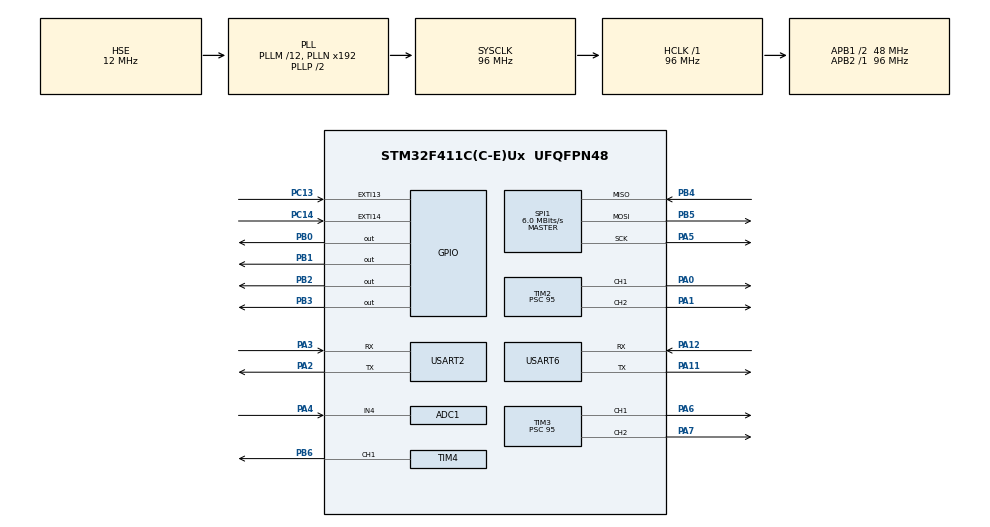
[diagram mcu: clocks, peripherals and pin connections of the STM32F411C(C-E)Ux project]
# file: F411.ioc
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ADC1.Channel-0\#ChannelRegularConversion=ADC_CHANNEL_4
ADC1.NbrOfConversionFlag=1
ADC1.Rank-0\#ChannelRegularConversion=1
ADC1.SamplingTime-0\#ChannelRegularConversion=ADC_SAMPLETIME_84CYCLES
ADC1.master=1
Dma.Request0=USART6_RX
Dma.Request1=USART6_TX
Dma.Request2=USART2_RX
Dma.Request3=USART2_TX
Dma.USART2_RX.2.Direction=DMA_PERIPH_TO_MEMORY
Dma.USART2_RX.2.FIFOMode=DMA_FIFOMODE_DISABLE
Dma.USART2_RX.2.Instance=DMA1_Stream5
Dma.USART2_RX.2.MemDataAlignment=DMA_MDATAALIGN_BYTE
Dma.USART2_RX.2.MemInc=DMA_MINC_ENABLE
Dma.USART2_RX.2.Mode=DMA_CIRCULAR
Dma.USART2_RX.2.PeriphDataAlignment=DMA_PDATAALIGN_BYTE
Dma.USART2_RX.2.PeriphInc=DMA_PINC_DISABLE
Dma.USART2_RX.2.Priority=DMA_PRIORITY_LOW
Dma.USART2_TX.3.Direction=DMA_MEMORY_TO_PERIPH
Dma.USART2_TX.3.FIFOMode=DMA_FIFOMODE_DISABLE
Dma.USART2_TX.3.Instance=DMA1_Stream6
Dma.USART2_TX.3.MemDataAlignment=DMA_MDATAALIGN_BYTE
Dma.USART2_TX.3.MemInc=DMA_MINC_ENABLE
Dma.USART2_TX.3.Mode=DMA_NORMAL
Dma.USART2_TX.3.PeriphDataAlignment=DMA_PDATAALIGN_BYTE
Dma.USART2_TX.3.PeriphInc=DMA_PINC_DISABLE
Dma.USART2_TX.3.Priority=DMA_PRIORITY_LOW
Dma.USART6_RX.0.Direction=DMA_PERIPH_TO_MEMORY
Dma.USART6_RX.0.FIFOMode=DMA_FIFOMODE_DISABLE
Dma.USART6_RX.0.Instance=DMA2_Stream1
Dma.USART6_RX.0.MemDataAlignment=DMA_MDATAALIGN_BYTE
Dma.USART6_RX.0.MemInc=DMA_MINC_ENABLE
Dma.USART6_RX.0.Mode=DMA_CIRCULAR
Dma.USART6_RX.0.PeriphDataAlignment=DMA_PDATAALIGN_BYTE
Dma.USART6_RX.0.PeriphInc=DMA_PINC_DISABLE
Dma.USART6_RX.0.Priority=DMA_PRIORITY_LOW
Dma.USART6_TX.1.Direction=DMA_MEMORY_TO_PERIPH
Dma.USART6_TX.1.FIFOMode=DMA_FIFOMODE_DISABLE
Dma.USART6_TX.1.Instance=DMA2_Stream6
Dma.USART6_TX.1.MemDataAlignment=DMA_MDATAALIGN_BYTE
Dma.USART6_TX.1.MemInc=DMA_MINC_ENABLE
Dma.USART6_TX.1.Mode=DMA_CIRCULAR
Dma.USART6_TX.1.PeriphDataAlignment=DMA_PDATAALIGN_BYTE
Dma.USART6_TX.1.PeriphInc=DMA_PINC_DISABLE
Dma.USART6_TX.1.Priority=DMA_PRIORITY_LOW
FREERTOS.Tasks01=defaultTask,24,128,StartDefaultTask,Default,NULL,Dynamic,NULL,NULL
Mcu.Family=STM32F4
Mcu.Name=STM32F411C(C-E)Ux
Mcu.Package=UFQFPN48
NVIC.DMA1_Stream5_IRQn=true\:5\:0\:false\:false\:true\:true\:false\:true\:true
NVIC.DMA1_Stream6_IRQn=true\:5\:0\:false\:false\:true\:true\:false\:true\:true
NVIC.DMA2_Stream1_IRQn=true\:5\:0\:false\:false\:true\:true\:false\:true\:true
NVIC.DMA2_Stream6_IRQn=true\:5\:0\:false\:false\:true\:true\:false\:true\:true
NVIC.EXTI15_10_IRQn=true\:5\:0\:false\:false\:true\:true\:true\:true\:true
NVIC.PriorityGroup=NVIC_PRIORITYGROUP_4
NVIC.TIM1_UP_TIM10_IRQn=true\:15\:0\:false\:false\:true\:false\:false\:true\:true
NVIC.TimeBase=TIM1_UP_TIM10_IRQn
NVIC.TimeBaseIP=TIM1
NVIC.USART2_IRQn=true\:5\:0\:false\:false\:true\:true\:false\:true\:true
NVIC.USART6_IRQn=true\:5\:0\:false\:false\:true\:true\:false\:true\:true
PA0-WKUP.Signal=S_TIM2_CH1_ETR
PA1.Signal=S_TIM2_CH2
PA11.Mode=Asynchronous
PA11.Signal=USART6_TX
PA12.Mode=Asynchronous
PA12.Signal=USART6_RX
PA13.Mode=Serial_Wire
PA13.Signal=SYS_JTMS-SWDIO
PA14.Mode=Serial_Wire
PA14.Signal=SYS_JTCK-SWCLK
PA2.Mode=Asynchronous
PA2.Signal=USART2_TX
PA3.Mode=Asynchronous
PA3.Signal=USART2_RX
PA4.Signal=ADCx_IN4
PA5.Mode=Full_Duplex_Master
PA5.Signal=SPI1_SCK
PA6.Signal=S_TIM3_CH1
PA7.Signal=S_TIM3_CH2
PB0.Signal=GPIO_Output
PB1.Signal=GPIO_Output
PB2.PinState=GPIO_PIN_SET
PB2.Signal=GPIO_Output
PB3.PinState=GPIO_PIN_SET
PB3.Signal=GPIO_Output
PB4.Mode=Full_Duplex_Master
PB4.Signal=SPI1_MISO
PB5.Mode=Full_Duplex_Master
PB5.Signal=SPI1_MOSI
PB6.Signal=S_TIM4_CH1
PC13-ANTI_TAMP.Signal=GPXTI13
PC14-OSC32_IN.Signal=GPXTI14
PH0\ -\ OSC_IN.Mode=HSE-External-Oscillator
PH0\ -\ OSC_IN.Signal=RCC_OSC_IN
PH1\ -\ OSC_OUT.Mode=HSE-External-Oscillator
PH1\ -\ OSC_OUT.Signal=RCC_OSC_OUT
ProjectManager.HeapSize=0x200
ProjectManager.StackSize=0x400
ProjectManager.TargetToolchain=MDK-ARM V5.32
RCC.48MHZClocksFreq_Value=48000000
RCC.AHBFreq_Value=96000000
RCC.APB1CLKDivider=RCC_HCLK_DIV2
RCC.APB1Freq_Value=48000000
RCC.APB1TimFreq_Value=96000000
RCC.APB2Freq_Value=96000000
RCC.APB2TimFreq_Value=96000000
RCC.CortexFreq_Value=96000000
RCC.HCLKFreq_Value=96000000
RCC.HSE_VALUE=12000000
RCC.HSI_VALUE=16000000
RCC.LSE_VALUE=32768
RCC.PLLM=12
RCC.PLLSourceVirtual=RCC_PLLSOURCE_HSE
RCC.SYSCLKFreq_VALUE=96000000
RCC.SYSCLKSource=RCC_SYSCLKSOURCE_PLLCLK
RCC.VCOOutputFreq_Value=192000000
SH.ADCx_IN4.0=ADC1_IN4,IN4
SH.S_TIM2_CH1_ETR.0=TIM2_CH1,PWM Generation1 CH1
SH.S_TIM2_CH2.0=TIM2_CH2,PWM Generation2 CH2
SH.S_TIM3_CH1.0=TIM3_CH1,PWM Generation1 CH1
SH.S_TIM3_CH2.0=TIM3_CH2,PWM Generation2 CH2
SH.S_TIM4_CH1.0=TIM4_CH1,PWM Generation1 CH1
SPI1.BaudRatePrescaler=SPI_BAUDRATEPRESCALER_16
SPI1.CalculateBaudRate=6.0 MBits/s
SPI1.Direction=SPI_DIRECTION_2LINES
SPI1.CLKPolarity=SPI_POLARITY_HIGH
SPI1.CLKPhase=SPI_PHASE_2EDGE
SPI1.Mode=SPI_MODE_MASTER
SPI1.VirtualType=VM_MASTER
TIM2.Channel-PWM\ Generation1\ CH1=TIM_CHANNEL_1
TIM2.Channel-PWM\ Generation2\ CH2=TIM_CHANNEL_2
TIM2.Period=19999
TIM2.Prescaler=95
TIM3.Channel-PWM\ Generation1\ CH1=TIM_CHANNEL_1
TIM3.Channel-PWM\ Generation2\ CH2=TIM_CHANNEL_2
TIM3.Period=19999
TIM3.Prescaler=95
TIM4.Channel-PWM\ Generation1\ CH1=TIM_CHANNEL_1
TIM4.Period=999
TIM4.Prescaler=23
USART2.VirtualMode=VM_ASYNC
USART6.VirtualMode=VM_ASYNC
VP_FREERTOS_VS_CMSIS_V2.Mode=CMSIS_V2
VP_SYS_VS_tim1.Mode=TIM1
board=custom

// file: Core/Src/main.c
/* USER CODE BEGIN Header */
/**
  ******************************************************************************
  * @file           : main.c
  * @brief          : Main program body
  ******************************************************************************
  * @attention
  *
  * Copyright (c) 2026 STMicroelectronics.
  * All rights reserved.
  *
  * This software is licensed under terms that can be found in the LICENSE file
  * in the root directory of this software component.
  * If no LICENSE file comes with this software, it is provided AS-IS.
  *
  ******************************************************************************
  */
/* USER CODE END Header */
#include "main.h"
#include "cmsis_os.h"

/* USER CODE BEGIN Includes */
#include "user_freertos.h"

/* USER CODE END Includes */

ADC_HandleTypeDef hadc1;

SPI_HandleTypeDef hspi1;

TIM_HandleTypeDef htim2;
TIM_HandleTypeDef htim3;
TIM_HandleTypeDef htim4;

UART_HandleTypeDef huart2;
UART_HandleTypeDef huart6;
DMA_HandleTypeDef hdma_usart2_rx;
DMA_HandleTypeDef hdma_usart2_tx;
DMA_HandleTypeDef hdma_usart6_rx;
DMA_HandleTypeDef hdma_usart6_tx;

/* Definitions for defaultTask */
osThreadId_t defaultTaskHandle;
const osThreadAttr_t defaultTask_attributes = {
  .name = "defaultTask",
  .stack_size = 128 * 4,
  .priority = (osPriority_t) osPriorityNormal,
};

void SystemClock_Config(void);
static void MX_GPIO_Init(void);
static void MX_DMA_Init(void);
static void MX_SPI1_Init(void);
static void MX_USART2_UART_Init(void);
static void MX_USART6_UART_Init(void);
static void MX_ADC1_Init(void);
static void MX_TIM2_Init(void);
static void MX_TIM3_Init(void);
static void MX_TIM4_Init(void);
void StartDefaultTask(void *argument);

int main(void)
{

  /* MCU Configuration--------------------------------------------------------*/

  /* Reset of all peripherals, Initializes the Flash interface and the Systick. */
  HAL_Init();

  /* Configure the system clock */
  SystemClock_Config();

  /* Initialize all configured peripherals */
  MX_GPIO_Init();
  MX_DMA_Init();
  MX_SPI1_Init();
  MX_USART2_UART_Init();
  MX_USART6_UART_Init();
  MX_ADC1_Init();
  MX_TIM2_Init();
  MX_TIM3_Init();
  MX_TIM4_Init();

  /* Init scheduler */
  osKernelInitialize();

  /* Create the thread(s) */
  /* creation of defaultTask */
  defaultTaskHandle = osThreadNew(StartDefaultTask, NULL, &defaultTask_attributes);

  /* USER CODE BEGIN RTOS_THREADS */
  MX_USER_FREERTOS_Init();
  /* add threads, ... */
  /* USER CODE END RTOS_THREADS */

  /* Start scheduler */
  osKernelStart();

  /* We should never get here as control is now taken by the scheduler */

  /* Infinite loop */
  while (1)
  {

  }
}

void SystemClock_Config(void)
{
  RCC_OscInitTypeDef RCC_OscInitStruct = {0};
  RCC_ClkInitTypeDef RCC_ClkInitStruct = {0};

  /** Configure the main internal regulator output voltage
  */
  __HAL_RCC_PWR_CLK_ENABLE();
  __HAL_PWR_VOLTAGESCALING_CONFIG(PWR_REGULATOR_VOLTAGE_SCALE1);

  /** Initializes the RCC Oscillators according to the specified parameters
  * in the RCC_OscInitTypeDef structure.
  */
  RCC_OscInitStruct.OscillatorType = RCC_OSCILLATORTYPE_HSE;
  RCC_OscInitStruct.HSEState = RCC_HSE_ON;
  RCC_OscInitStruct.PLL.PLLState = RCC_PLL_ON;
  RCC_OscInitStruct.PLL.PLLSource = RCC_PLLSOURCE_HSE;
  RCC_OscInitStruct.PLL.PLLM = 12;
  RCC_OscInitStruct.PLL.PLLN = 192;
  RCC_OscInitStruct.PLL.PLLP = RCC_PLLP_DIV2;
  RCC_OscInitStruct.PLL.PLLQ = 4;
  if (HAL_RCC_OscConfig(&RCC_OscInitStruct) != HAL_OK)
  {
    Error_Handler();
  }

  /** Initializes the CPU, AHB and APB buses clocks
  */
  RCC_ClkInitStruct.ClockType = RCC_CLOCKTYPE_HCLK|RCC_CLOCKTYPE_SYSCLK
                              |RCC_CLOCKTYPE_PCLK1|RCC_CLOCKTYPE_PCLK2;
  RCC_ClkInitStruct.SYSCLKSource = RCC_SYSCLKSOURCE_PLLCLK;
  RCC_ClkInitStruct.AHBCLKDivider = RCC_SYSCLK_DIV1;
  RCC_ClkInitStruct.APB1CLKDivider = RCC_HCLK_DIV2;
  RCC_ClkInitStruct.APB2CLKDivider = RCC_HCLK_DIV1;

  if (HAL_RCC_ClockConfig(&RCC_ClkInitStruct, FLASH_LATENCY_3) != HAL_OK)
  {
    Error_Handler();
  }
}

static void MX_ADC1_Init(void)
{

  ADC_ChannelConfTypeDef sConfig = {0};

  /** Configure the global features of the ADC (Clock, Resolution, Data Alignment and number of conversion)
  */
  hadc1.Instance = ADC1;
  hadc1.Init.ClockPrescaler = ADC_CLOCK_SYNC_PCLK_DIV4;
  hadc1.Init.Resolution = ADC_RESOLUTION_12B;
  hadc1.Init.ScanConvMode = DISABLE;
  hadc1.Init.ContinuousConvMode = DISABLE;
  hadc1.Init.DiscontinuousConvMode = DISABLE;
  hadc1.Init.ExternalTrigConvEdge = ADC_EXTERNALTRIGCONVEDGE_NONE;
  hadc1.Init.ExternalTrigConv = ADC_SOFTWARE_START;
  hadc1.Init.DataAlign = ADC_DATAALIGN_RIGHT;
  hadc1.Init.NbrOfConversion = 1;
  hadc1.Init.DMAContinuousRequests = DISABLE;
  hadc1.Init.EOCSelection = ADC_EOC_SINGLE_CONV;
  if (HAL_ADC_Init(&hadc1) != HAL_OK)
  {
    Error_Handler();
  }

  /** Configure for the selected ADC regular channel its corresponding rank in the sequencer and its sample time.
  */
  sConfig.Channel = ADC_CHANNEL_4;
  sConfig.Rank = 1;
  sConfig.SamplingTime = ADC_SAMPLETIME_84CYCLES;
  if (HAL_ADC_ConfigChannel(&hadc1, &sConfig) != HAL_OK)
  {
    Error_Handler();
  }

}

static void MX_SPI1_Init(void)
{

  /* SPI1 parameter configuration*/
  hspi1.Instance = SPI1;
  hspi1.Init.Mode = SPI_MODE_MASTER;
  hspi1.Init.Direction = SPI_DIRECTION_2LINES;
  hspi1.Init.DataSize = SPI_DATASIZE_8BIT;
  hspi1.Init.CLKPolarity = SPI_POLARITY_HIGH;
  hspi1.Init.CLKPhase = SPI_PHASE_2EDGE;
  hspi1.Init.NSS = SPI_NSS_SOFT;
  hspi1.Init.BaudRatePrescaler = SPI_BAUDRATEPRESCALER_16;
  hspi1.Init.FirstBit = SPI_FIRSTBIT_MSB;
  hspi1.Init.TIMode = SPI_TIMODE_DISABLE;
  hspi1.Init.CRCCalculation = SPI_CRCCALCULATION_DISABLE;
  hspi1.Init.CRCPolynomial = 10;
  if (HAL_SPI_Init(&hspi1) != HAL_OK)
  {
    Error_Handler();
  }

}

static void MX_TIM2_Init(void)
{

  TIM_MasterConfigTypeDef sMasterConfig = {0};
  TIM_OC_InitTypeDef sConfigOC = {0};

  htim2.Instance = TIM2;
  htim2.Init.Prescaler = 95;
  htim2.Init.CounterMode = TIM_COUNTERMODE_UP;
  htim2.Init.Period = 19999;
  htim2.Init.ClockDivision = TIM_CLOCKDIVISION_DIV1;
  htim2.Init.AutoReloadPreload = TIM_AUTORELOAD_PRELOAD_DISABLE;
  if (HAL_TIM_PWM_Init(&htim2) != HAL_OK)
  {
    Error_Handler();
  }
  sMasterConfig.MasterOutputTrigger = TIM_TRGO_RESET;
  sMasterConfig.MasterSlaveMode = TIM_MASTERSLAVEMODE_DISABLE;
  if (HAL_TIMEx_MasterConfigSynchronization(&htim2, &sMasterConfig) != HAL_OK)
  {
    Error_Handler();
  }
  sConfigOC.OCMode = TIM_OCMODE_PWM1;
  sConfigOC.Pulse = 0;
  sConfigOC.OCPolarity = TIM_OCPOLARITY_HIGH;
  sConfigOC.OCFastMode = TIM_OCFAST_DISABLE;
  if (HAL_TIM_PWM_ConfigChannel(&htim2, &sConfigOC, TIM_CHANNEL_1) != HAL_OK)
  {
    Error_Handler();
  }
  if (HAL_TIM_PWM_ConfigChannel(&htim2, &sConfigOC, TIM_CHANNEL_2) != HAL_OK)
  {
    Error_Handler();
  }
  HAL_TIM_MspPostInit(&htim2);

}

static void MX_TIM3_Init(void)
{

  TIM_MasterConfigTypeDef sMasterConfig = {0};
  TIM_OC_InitTypeDef sConfigOC = {0};

  htim3.Instance = TIM3;
  htim3.Init.Prescaler = 95;
  htim3.Init.CounterMode = TIM_COUNTERMODE_UP;
  htim3.Init.Period = 19999;
  htim3.Init.ClockDivision = TIM_CLOCKDIVISION_DIV1;
  htim3.Init.AutoReloadPreload = TIM_AUTORELOAD_PRELOAD_DISABLE;
  if (HAL_TIM_PWM_Init(&htim3) != HAL_OK)
  {
    Error_Handler();
  }
  sMasterConfig.MasterOutputTrigger = TIM_TRGO_RESET;
  sMasterConfig.MasterSlaveMode = TIM_MASTERSLAVEMODE_DISABLE;
  if (HAL_TIMEx_MasterConfigSynchronization(&htim3, &sMasterConfig) != HAL_OK)
  {
    Error_Handler();
  }
  sConfigOC.OCMode = TIM_OCMODE_PWM1;
  sConfigOC.Pulse = 0;
  sConfigOC.OCPolarity = TIM_OCPOLARITY_HIGH;
  sConfigOC.OCFastMode = TIM_OCFAST_DISABLE;
  if (HAL_TIM_PWM_ConfigChannel(&htim3, &sConfigOC, TIM_CHANNEL_1) != HAL_OK)
  {
    Error_Handler();
  }
  if (HAL_TIM_PWM_ConfigChannel(&htim3, &sConfigOC, TIM_CHANNEL_2) != HAL_OK)
  {
    Error_Handler();
  }
  HAL_TIM_MspPostInit(&htim3);

}

static void MX_TIM4_Init(void)
{

  TIM_MasterConfigTypeDef sMasterConfig = {0};
  TIM_OC_InitTypeDef sConfigOC = {0};

  htim4.Instance = TIM4;
  /* TIM4 时钟 96 MHz：96 MHz / (23 + 1) / (999 + 1) = 4 kHz 蜂鸣器音调。 */
  htim4.Init.Prescaler = 23;
  htim4.Init.CounterMode = TIM_COUNTERMODE_UP;
  htim4.Init.Period = 999;
  htim4.Init.ClockDivision = TIM_CLOCKDIVISION_DIV1;
  htim4.Init.AutoReloadPreload = TIM_AUTORELOAD_PRELOAD_DISABLE;
  if (HAL_TIM_PWM_Init(&htim4) != HAL_OK)
  {
    Error_Handler();
  }
  sMasterConfig.MasterOutputTrigger = TIM_TRGO_RESET;
  sMasterConfig.MasterSlaveMode = TIM_MASTERSLAVEMODE_DISABLE;
  if (HAL_TIMEx_MasterConfigSynchronization(&htim4, &sMasterConfig) != HAL_OK)
  {
    Error_Handler();
  }
  sConfigOC.OCMode = TIM_OCMODE_PWM1;
  sConfigOC.Pulse = 0;
  sConfigOC.OCPolarity = TIM_OCPOLARITY_HIGH;
  sConfigOC.OCFastMode = TIM_OCFAST_DISABLE;
  if (HAL_TIM_PWM_ConfigChannel(&htim4, &sConfigOC, TIM_CHANNEL_1) != HAL_OK)
  {
    Error_Handler();
  }
  HAL_TIM_MspPostInit(&htim4);

}

static void MX_USART2_UART_Init(void)
{

  huart2.Instance = USART2;
  huart2.Init.BaudRate = 115200;
  huart2.Init.WordLength = UART_WORDLENGTH_8B;
  huart2.Init.StopBits = UART_STOPBITS_1;
  huart2.Init.Parity = UART_PARITY_NONE;
  huart2.Init.Mode = UART_MODE_TX_RX;
  huart2.Init.HwFlowCtl = UART_HWCONTROL_NONE;
  huart2.Init.OverSampling = UART_OVERSAMPLING_16;
  if (HAL_UART_Init(&huart2) != HAL_OK)
  {
    Error_Handler();
  }

}

static void MX_USART6_UART_Init(void)
{

  huart6.Instance = USART6;
  huart6.Init.BaudRate = 115200;
  huart6.Init.WordLength = UART_WORDLENGTH_8B;
  huart6.Init.StopBits = UART_STOPBITS_1;
  huart6.Init.Parity = UART_PARITY_NONE;
  huart6.Init.Mode = UART_MODE_TX_RX;
  huart6.Init.HwFlowCtl = UART_HWCONTROL_NONE;
  huart6.Init.OverSampling = UART_OVERSAMPLING_16;
  if (HAL_UART_Init(&huart6) != HAL_OK)
  {
    Error_Handler();
  }

}

static void MX_DMA_Init(void)
{

  /* DMA controller clock enable */
  __HAL_RCC_DMA2_CLK_ENABLE();
  __HAL_RCC_DMA1_CLK_ENABLE();

  /* DMA interrupt init */
  /* DMA1_Stream5_IRQn interrupt configuration */
  HAL_NVIC_SetPriority(DMA1_Stream5_IRQn, 5, 0);
  HAL_NVIC_EnableIRQ(DMA1_Stream5_IRQn);
  /* DMA1_Stream6_IRQn interrupt configuration */
  HAL_NVIC_SetPriority(DMA1_Stream6_IRQn, 5, 0);
  HAL_NVIC_EnableIRQ(DMA1_Stream6_IRQn);
  /* DMA2_Stream1_IRQn interrupt configuration */
  HAL_NVIC_SetPriority(DMA2_Stream1_IRQn, 5, 0);
  HAL_NVIC_EnableIRQ(DMA2_Stream1_IRQn);
  /* DMA2_Stream6_IRQn interrupt configuration */
  HAL_NVIC_SetPriority(DMA2_Stream6_IRQn, 5, 0);
  HAL_NVIC_EnableIRQ(DMA2_Stream6_IRQn);

}

static void MX_GPIO_Init(void)
{
  GPIO_InitTypeDef GPIO_InitStruct = {0};

  /* GPIO Ports Clock Enable */
  __HAL_RCC_GPIOC_CLK_ENABLE();
  __HAL_RCC_GPIOH_CLK_ENABLE();
  __HAL_RCC_GPIOA_CLK_ENABLE();
  __HAL_RCC_GPIOB_CLK_ENABLE();

  /*Configure GPIO pin Output Level */
  HAL_GPIO_WritePin(GPIOB, GPIO_PIN_0|GPIO_PIN_1, GPIO_PIN_RESET);

  /*Configure GPIO pin Output Level */
  HAL_GPIO_WritePin(GPIOB, GPIO_PIN_2|GPIO_PIN_3, GPIO_PIN_SET);

  /*Configure GPIO pins : PC13 PC14 */
  GPIO_InitStruct.Pin = GPIO_PIN_13|GPIO_PIN_14;
  GPIO_InitStruct.Mode = GPIO_MODE_IT_RISING;
  GPIO_InitStruct.Pull = GPIO_NOPULL;
  HAL_GPIO_Init(GPIOC, &GPIO_InitStruct);

  /*Configure GPIO pins : PB0 PB1 PB2 PB3 */
  GPIO_InitStruct.Pin = GPIO_PIN_0|GPIO_PIN_1|GPIO_PIN_2|GPIO_PIN_3;
  GPIO_InitStruct.Mode = GPIO_MODE_OUTPUT_PP;
  GPIO_InitStruct.Pull = GPIO_NOPULL;
  GPIO_InitStruct.Speed = GPIO_SPEED_FREQ_LOW;
  HAL_GPIO_Init(GPIOB, &GPIO_InitStruct);

  /* EXTI interrupt init*/
  HAL_NVIC_SetPriority(EXTI15_10_IRQn, 5, 0);
  HAL_NVIC_EnableIRQ(EXTI15_10_IRQn);

}

void StartDefaultTask(void *argument)
{
  for(;;)
  {
    osDelay(1);
  }
}

void HAL_TIM_PeriodElapsedCallback(TIM_HandleTypeDef *htim)
{
  if (htim->Instance == TIM1) {
    HAL_IncTick();
  }
}

void Error_Handler(void)
{
  __disable_irq();
  while (1)
  {
  }
}

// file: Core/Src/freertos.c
/* USER CODE BEGIN Header */
/**
  ******************************************************************************
  * File Name          : freertos.c
  * Description        : Code for freertos applications
  ******************************************************************************
  * @attention
  *
  * Copyright (c) 2026 STMicroelectronics.
  * All rights reserved.
  *
  * This software is licensed under terms that can be found in the LICENSE file
  * in the root directory of this software component.
  * If no LICENSE file comes with this software, it is provided AS-IS.
  *
  ******************************************************************************
  */
/* USER CODE END Header */

#include "FreeRTOS.h"
#include "task.h"
#include "main.h"

/* USER CODE BEGIN Includes */
#include "cmsis_os.h"
#include "ins_task.h"
#include "control_task.h"
#include "comm_task.h"
#include "user_freertos.h"

/* USER CODE END Includes */

/* USER CODE BEGIN Application */
/* User tasks are created here, following the reference project's layout.
 * CubeMX owns only defaultTask in main.c. */
osThreadId_t sensorTaskHandle;
osThreadId_t controlTaskHandle;
osThreadId_t commTaskHandle;

static const osThreadAttr_t sensorTask_attributes = {
  .name = "sensorTask", .stack_size = 512 * 4,
  .priority = (osPriority_t) osPriorityAboveNormal,
};
static const osThreadAttr_t controlTask_attributes = {
  .name = "controlTask", .stack_size = 256 * 4,
  .priority = (osPriority_t) osPriorityHigh,
};
static const osThreadAttr_t commTask_attributes = {
  .name = "commTask", .stack_size = 256 * 4,
  .priority = (osPriority_t) osPriorityNormal,
};

static void SENSORTASK(void *argument)
{
  (void)argument;
  INS_task();
}
static void CONTROLTASK(void *argument)
{
  (void)argument;
  Control_task();
}
static void COMMTASK(void *argument)
{
  (void)argument;
  Comm_task();
}

void MX_USER_FREERTOS_Init(void)
{
  sensorTaskHandle = osThreadNew(SENSORTASK, NULL, &sensorTask_attributes);
  controlTaskHandle = osThreadNew(CONTROLTASK, NULL, &controlTask_attributes);
  commTaskHandle = osThreadNew(COMMTASK, NULL, &commTask_attributes);
  if (sensorTaskHandle == NULL || controlTaskHandle == NULL || commTaskHandle == NULL) {
    Error_Handler();
  }
}

/* USER CODE END Application */
